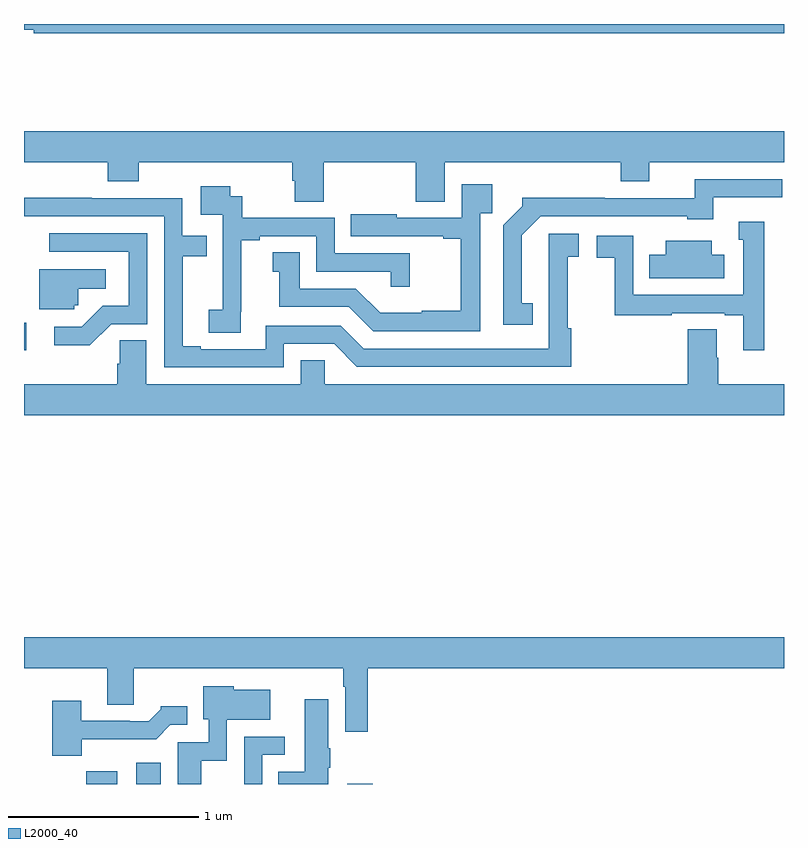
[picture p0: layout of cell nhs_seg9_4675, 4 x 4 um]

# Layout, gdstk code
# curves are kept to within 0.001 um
import gdstk
lib = gdstk.Library(unit=1e-6, precision=1e-09)
def R(c, l, rs):  # rectangles x0, y0, x1, y1
    for r in rs: c.add(gdstk.rectangle(r[:2], r[2:], *l))
def P(c, l, *ps):  # polygons
    for p in ps: c.add(gdstk.Polygon(p, *l))
L2000_40 = (2000, 40)

nhs_seg9_4675 = lib.new_cell('nhs_seg9_4675')
R(nhs_seg9_4675, L2000_40, [(381.328,1174.5,381.49,1174.567), (381.59,1174.5,381.721,1174.612), (382.7,1174.5,382.835,1174.501), (381,1176.783,381.013,1176.927)])
P(nhs_seg9_4675, L2000_40, [(385,1178.5),(381,1178.5),(381,1178.471),(381.052,1178.471),(381.052,1178.452),(385,1178.452)],
  [(382.577,1177.772),(383.063,1177.772),(383.063,1177.564),(383.215,1177.564),(383.215,1177.772),(384.14,1177.772),(384.14,1177.673),(384.292,1177.673),(384.292,1177.772),(385,1177.772),(385,1177.936),(381,1177.936),(381,1177.772),(381.44,1177.772),(381.44,1177.673),(381.605,1177.673),(381.605,1177.772),(382.412,1177.772),(382.412,1177.674),(382.424,1177.674),(382.424,1177.564),(382.577,1177.564)],
  [(383.678,1177.031),(383.62,1177.031),(383.62,1177.387),(383.721,1177.488),(384.492,1177.488),(384.492,1177.472),(384.628,1177.472),(384.628,1177.587),(384.992,1177.587),(384.992,1177.683),(384.529,1177.683),(384.529,1177.584),(384.056,1177.584),(384.056,1177.586),(383.622,1177.586),(383.622,1177.541),(383.523,1177.442),(383.523,1176.918),(383.678,1176.918)],
  [(383.4,1177.505),(383.465,1177.505),(383.465,1177.657),(383.304,1177.657),(383.304,1177.479),(382.963,1177.479),(382.963,1177.498),(382.72,1177.498),(382.72,1177.383),(383.207,1177.383),(383.207,1177.371),(383.299,1177.371),(383.299,1176.991),(383.093,1176.991),(383.093,1176.979),(382.874,1176.979),(382.746,1177.107),(382.45,1177.107),(382.45,1177.298),(382.31,1177.298),(382.31,1177.195),(382.343,1177.195),(382.343,1177.011),(382.71,1177.011),(382.839,1176.882),(383.4,1176.882)],
  [(382.142,1176.985),(382.144,1176.985),(382.144,1177.363),(382.24,1177.363),(382.24,1177.383),(382.539,1177.383),(382.539,1177.197),(382.929,1177.197),(382.929,1177.116),(383.03,1177.116),(383.03,1177.293),(382.635,1177.293),(382.635,1177.479),(382.148,1177.479),(382.148,1177.593),(382.086,1177.593),(382.086,1177.645),(381.93,1177.645),(381.93,1177.497),(382.047,1177.497),(382.047,1177.193),(382.046,1177.193),(382.046,1176.996),(381.972,1176.996),(381.972,1176.874),(382.142,1176.874)],
  [(382.368,1176.816),(382.632,1176.816),(382.752,1176.696),(383.879,1176.696),(383.879,1176.899),(383.862,1176.899),(383.862,1177.275),(383.92,1177.275),(383.92,1177.396),(383.762,1177.396),(383.763,1176.792),(382.788,1176.792),(382.668,1176.912),(382.272,1176.912),(382.272,1176.789),(381.931,1176.789),(381.931,1176.804),(381.835,1176.804),(381.835,1177.278),(381.962,1177.278),(381.962,1177.386),(381.834,1177.386),(381.834,1177.584),(381.356,1177.584),(381.356,1177.586),(381,1177.586),(381,1177.488),(381.738,1177.488),(381.738,1176.693),(382.368,1176.693)],
  [(384.895,1177.459),(384.761,1177.459),(384.761,1177.365),(384.786,1177.365),(384.786,1177.074),(384.207,1177.074),(384.207,1177.386),(384.015,1177.386),(384.015,1177.27),(384.109,1177.27),(384.109,1176.966),(384.41,1176.966),(384.41,1176.978),(384.689,1176.978),(384.689,1176.966),(384.785,1176.966),(384.785,1176.783),(384.895,1176.783)],
  [(381.459,1176.921),(381.648,1176.921),(381.648,1177.398),(381.132,1177.398),(381.132,1177.302),(381.552,1177.302),(381.552,1177.017),(381.414,1177.017),(381.303,1176.906),(381.159,1176.906),(381.159,1176.809),(381.346,1176.809)],
  [(384.685,1177.285),(384.619,1177.285),(384.619,1177.36),(384.377,1177.36),(384.377,1177.285),(384.292,1177.285),(384.292,1177.163),(384.685,1177.163)],
  [(381.264,1177.02),(381.285,1177.02),(381.285,1177.106),(381.43,1177.106),(381.43,1177.21),(381.08,1177.21),(381.08,1176.999),(381.264,1176.999)],
  [(385,1176.604),(384.654,1176.604),(384.654,1176.743),(384.646,1176.743),(384.646,1176.893),(384.494,1176.893),(384.494,1176.604),(382.584,1176.604),(382.584,1176.731),(382.457,1176.731),(382.457,1176.604),(381.643,1176.604),(381.643,1176.836),(381.504,1176.836),(381.504,1176.713),(381.491,1176.713),(381.491,1176.604),(381,1176.604),(381,1176.44),(385,1176.44)],
  [(382.808,1175.108),(385,1175.108),(385,1175.272),(381,1175.272),(381,1175.108),(381.437,1175.108),(381.437,1174.918),(381.577,1174.918),(381.577,1175.108),(382.68,1175.108),(382.68,1175.012),(382.692,1175.012),(382.692,1174.776),(382.808,1174.776)],
  [(381.934,1174.622),(382.068,1174.622),(382.068,1174.838),(382.297,1174.838),(382.297,1174.996),(382.104,1174.996),(382.104,1175.014),(381.944,1175.014),(381.944,1174.842),(381.972,1174.842),(381.972,1174.719),(381.809,1174.719),(381.809,1174.5),(381.934,1174.5)],
  [(382.6,1174.585),(382.613,1174.585),(382.613,1174.688),(382.6,1174.688),(382.6,1174.945),(382.478,1174.945),(382.478,1174.564),(382.339,1174.564),(382.339,1174.5),(382.6,1174.5)],
  [(381.304,1174.736),(381.695,1174.736),(381.771,1174.812),(381.859,1174.812),(381.859,1174.909),(381.72,1174.909),(381.72,1174.894),(381.656,1174.83),(381.557,1174.83),(381.557,1174.833),(381.301,1174.833),(381.301,1174.939),(381.149,1174.939),(381.149,1174.649),(381.304,1174.649)],
  [(382.254,1174.653),(382.372,1174.653),(382.372,1174.749),(382.158,1174.749),(382.158,1174.5),(382.254,1174.5)])

lib.write_gds('nhs_seg9_4675.gds')
